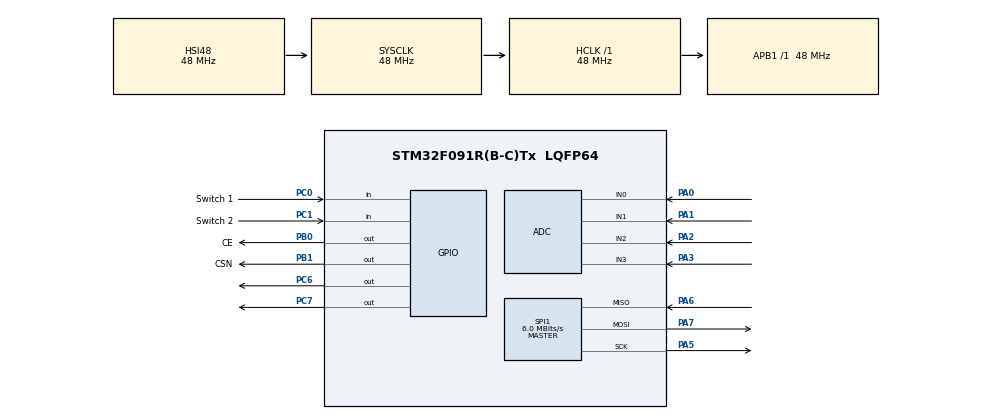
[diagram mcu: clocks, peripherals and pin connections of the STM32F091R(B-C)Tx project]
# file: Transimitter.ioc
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ADC.ContinuousConvMode=ENABLE
ADC.SamplingTime=ADC_SAMPLETIME_239CYCLES_5
Dma.ADC.0.Direction=DMA_PERIPH_TO_MEMORY
Dma.ADC.0.Instance=DMA1_Channel1
Dma.ADC.0.MemDataAlignment=DMA_MDATAALIGN_WORD
Dma.ADC.0.MemInc=DMA_MINC_ENABLE
Dma.ADC.0.Mode=DMA_CIRCULAR
Dma.ADC.0.PeriphDataAlignment=DMA_PDATAALIGN_WORD
Dma.ADC.0.PeriphInc=DMA_PINC_DISABLE
Dma.ADC.0.Priority=DMA_PRIORITY_LOW
Dma.Request0=ADC
Mcu.Family=STM32F0
Mcu.Name=STM32F091R(B-C)Tx
Mcu.Package=LQFP64
NVIC.DMA1_Ch1_IRQn=true\:0\:0\:false\:false\:true\:false\:true
PA0.Mode=IN0
PA0.Signal=ADC_IN0
PA1.Mode=IN1
PA1.Signal=ADC_IN1
PA2.Mode=IN2
PA2.Signal=ADC_IN2
PA3.Mode=IN3
PA3.Signal=ADC_IN3
PA5.Mode=Full_Duplex_Master
PA5.Signal=SPI1_SCK
PA6.Mode=Full_Duplex_Master
PA6.Signal=SPI1_MISO
PA7.Mode=Full_Duplex_Master
PA7.Signal=SPI1_MOSI
PB0.GPIO_Label=CE
PB0.Signal=GPIO_Output
PB1.GPIO_Label=CSN
PB1.Signal=GPIO_Output
PC0.GPIO_Label=Switch 1
PC0.GPIO_PuPd=GPIO_NOPULL
PC0.Signal=GPIO_Input
PC1.GPIO_Label=Switch 2
PC1.GPIO_PuPd=GPIO_NOPULL
PC1.Signal=GPIO_Input
PC6.Signal=GPIO_Output
PC7.Signal=GPIO_Output
ProjectManager.HeapSize=0x200
ProjectManager.StackSize=0x400
ProjectManager.TargetToolchain=STM32CubeIDE
RCC.AHBFreq_Value=48000000
RCC.APB1Freq_Value=48000000
RCC.APB1TimFreq_Value=48000000
RCC.HCLKFreq_Value=48000000
RCC.PLLMUL=RCC_PLL_MUL6
RCC.SYSCLKFreq_VALUE=48000000
RCC.SYSCLKSource=RCC_SYSCLKSOURCE_HSI48
SPI1.BaudRatePrescaler=SPI_BAUDRATEPRESCALER_8
SPI1.CalculateBaudRate=6.0 MBits/s
SPI1.DataSize=SPI_DATASIZE_8BIT
SPI1.Direction=SPI_DIRECTION_2LINES
SPI1.Mode=SPI_MODE_MASTER
SPI1.VirtualType=VM_MASTER
board=custom

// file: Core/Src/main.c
/* USER CODE BEGIN Header */
/**
  ******************************************************************************
  * @file           : main.c
  * @brief          : Main program body
  ******************************************************************************
  * @attention
  *
  * Copyright (c) 2022 STMicroelectronics.
  * All rights reserved.
  *
  * This software is licensed under terms that can be found in the LICENSE file
  * in the root directory of this software component.
  * If no LICENSE file comes with this software, it is provided AS-IS.
  *
  ******************************************************************************
  */
/* USER CODE END Header */
#include "main.h"

/* USER CODE BEGIN Includes */
#include "NRF24L01.h"
#include "string.h"
#include "package.h"
/* USER CODE END Includes */

ADC_HandleTypeDef hadc;
DMA_HandleTypeDef hdma_adc;

SPI_HandleTypeDef hspi1;

void SystemClock_Config(void);
static void MX_GPIO_Init(void);
static void MX_SPI1_Init(void);
static void MX_DMA_Init(void);
static void MX_ADC_Init(void);

/* USER CODE BEGIN 0 */
uint8_t TxAddress[] = {0x11,0x22,0x33,0x44,0x55};
uint32_t ADC_Value[4];
uint8_t TxData[] = "Hello World";
Package temp;
uint8_t switch1 = 0;
uint8_t switch2 = 0;
/* USER CODE END 0 */

int main(void)
{

  /* MCU Configuration--------------------------------------------------------*/

  /* Reset of all peripherals, Initializes the Flash interface and the Systick. */
  HAL_Init();

  /* Configure the system clock */
  SystemClock_Config();

  /* Initialize all configured peripherals */
  MX_GPIO_Init();
  MX_SPI1_Init();
  MX_DMA_Init();
  MX_ADC_Init();
  /* USER CODE BEGIN 2 */
  NRF24_Init();
  NRF24_TxMode(TxAddress, 10);
  /* USER CODE END 2 */

  /* Infinite loop */
  while (1)
  {

    /* USER CODE BEGIN 3 */
	  //read switch value

	  switch1 = HAL_GPIO_ReadPin(GPIOC,GPIO_PIN_0);
	  switch2 = HAL_GPIO_ReadPin(GPIOC,GPIO_PIN_1);

	  //read x1 y1 x2 y2 from joystick
	 HAL_ADC_Start_DMA(&hadc, ADC_Value, 4); // Start ADC in dma mode :)

	 temp.x1 = (uint16_t) ADC_Value[0];
	 temp.y1 = (uint16_t) ADC_Value[1];
	 temp.x2 = (uint16_t) ADC_Value[2];
	 temp.y2 = (uint16_t) ADC_Value[3];
	 temp.state1 = switch1;
	 temp.state2 = switch2;

  	  if (NRF24_Transmit(&temp) == 1)
  	  {
  		  HAL_GPIO_TogglePin(GPIOC, GPIO_PIN_6);
  		  HAL_Delay(10);
  	  }
  }
  /* USER CODE END 3 */
}

void SystemClock_Config(void)
{
  RCC_OscInitTypeDef RCC_OscInitStruct = {0};
  RCC_ClkInitTypeDef RCC_ClkInitStruct = {0};

  /** Initializes the RCC Oscillators according to the specified parameters
  * in the RCC_OscInitTypeDef structure.
  */
  RCC_OscInitStruct.OscillatorType = RCC_OSCILLATORTYPE_HSI14|RCC_OSCILLATORTYPE_HSI48;
  RCC_OscInitStruct.HSI48State = RCC_HSI48_ON;
  RCC_OscInitStruct.HSI14State = RCC_HSI14_ON;
  RCC_OscInitStruct.HSI14CalibrationValue = 16;
  RCC_OscInitStruct.PLL.PLLState = RCC_PLL_NONE;
  if (HAL_RCC_OscConfig(&RCC_OscInitStruct) != HAL_OK)
  {
    Error_Handler();
  }
  /** Initializes the CPU, AHB and APB buses clocks
  */
  RCC_ClkInitStruct.ClockType = RCC_CLOCKTYPE_HCLK|RCC_CLOCKTYPE_SYSCLK
                              |RCC_CLOCKTYPE_PCLK1;
  RCC_ClkInitStruct.SYSCLKSource = RCC_SYSCLKSOURCE_HSI48;
  RCC_ClkInitStruct.AHBCLKDivider = RCC_SYSCLK_DIV1;
  RCC_ClkInitStruct.APB1CLKDivider = RCC_HCLK_DIV1;

  if (HAL_RCC_ClockConfig(&RCC_ClkInitStruct, FLASH_LATENCY_1) != HAL_OK)
  {
    Error_Handler();
  }
}

static void MX_ADC_Init(void)
{

  ADC_ChannelConfTypeDef sConfig = {0};

  /** Configure the global features of the ADC (Clock, Resolution, Data Alignment and number of conversion)
  */
  hadc.Instance = ADC1;
  hadc.Init.ClockPrescaler = ADC_CLOCK_ASYNC_DIV1;
  hadc.Init.Resolution = ADC_RESOLUTION_12B;
  hadc.Init.DataAlign = ADC_DATAALIGN_RIGHT;
  hadc.Init.ScanConvMode = ADC_SCAN_DIRECTION_FORWARD;
  hadc.Init.EOCSelection = ADC_EOC_SINGLE_CONV;
  hadc.Init.LowPowerAutoWait = DISABLE;
  hadc.Init.LowPowerAutoPowerOff = DISABLE;
  hadc.Init.ContinuousConvMode = ENABLE;
  hadc.Init.DiscontinuousConvMode = DISABLE;
  hadc.Init.ExternalTrigConv = ADC_SOFTWARE_START;
  hadc.Init.ExternalTrigConvEdge = ADC_EXTERNALTRIGCONVEDGE_NONE;
  hadc.Init.DMAContinuousRequests = DISABLE;
  hadc.Init.Overrun = ADC_OVR_DATA_PRESERVED;
  if (HAL_ADC_Init(&hadc) != HAL_OK)
  {
    Error_Handler();
  }
  /** Configure for the selected ADC regular channel to be converted.
  */
  sConfig.Channel = ADC_CHANNEL_0;
  sConfig.Rank = ADC_RANK_CHANNEL_NUMBER;
  sConfig.SamplingTime = ADC_SAMPLETIME_239CYCLES_5;
  if (HAL_ADC_ConfigChannel(&hadc, &sConfig) != HAL_OK)
  {
    Error_Handler();
  }
  /** Configure for the selected ADC regular channel to be converted.
  */
  sConfig.Channel = ADC_CHANNEL_1;
  if (HAL_ADC_ConfigChannel(&hadc, &sConfig) != HAL_OK)
  {
    Error_Handler();
  }
  /** Configure for the selected ADC regular channel to be converted.
  */
  sConfig.Channel = ADC_CHANNEL_2;
  if (HAL_ADC_ConfigChannel(&hadc, &sConfig) != HAL_OK)
  {
    Error_Handler();
  }
  /** Configure for the selected ADC regular channel to be converted.
  */
  sConfig.Channel = ADC_CHANNEL_3;
  if (HAL_ADC_ConfigChannel(&hadc, &sConfig) != HAL_OK)
  {
    Error_Handler();
  }

}

static void MX_SPI1_Init(void)
{

  /* SPI1 parameter configuration*/
  hspi1.Instance = SPI1;
  hspi1.Init.Mode = SPI_MODE_MASTER;
  hspi1.Init.Direction = SPI_DIRECTION_2LINES;
  hspi1.Init.DataSize = SPI_DATASIZE_8BIT;
  hspi1.Init.CLKPolarity = SPI_POLARITY_LOW;
  hspi1.Init.CLKPhase = SPI_PHASE_1EDGE;
  hspi1.Init.NSS = SPI_NSS_SOFT;
  hspi1.Init.BaudRatePrescaler = SPI_BAUDRATEPRESCALER_8;
  hspi1.Init.FirstBit = SPI_FIRSTBIT_MSB;
  hspi1.Init.TIMode = SPI_TIMODE_DISABLE;
  hspi1.Init.CRCCalculation = SPI_CRCCALCULATION_DISABLE;
  hspi1.Init.CRCPolynomial = 7;
  hspi1.Init.CRCLength = SPI_CRC_LENGTH_DATASIZE;
  hspi1.Init.NSSPMode = SPI_NSS_PULSE_ENABLE;
  if (HAL_SPI_Init(&hspi1) != HAL_OK)
  {
    Error_Handler();
  }

}

static void MX_DMA_Init(void)
{

  /* DMA controller clock enable */
  __HAL_RCC_DMA1_CLK_ENABLE();

  /* DMA interrupt init */
  /* DMA1_Ch1_IRQn interrupt configuration */
  HAL_NVIC_SetPriority(DMA1_Ch1_IRQn, 0, 0);
  HAL_NVIC_EnableIRQ(DMA1_Ch1_IRQn);

}

static void MX_GPIO_Init(void)
{
  GPIO_InitTypeDef GPIO_InitStruct = {0};

  /* GPIO Ports Clock Enable */
  __HAL_RCC_GPIOC_CLK_ENABLE();
  __HAL_RCC_GPIOA_CLK_ENABLE();
  __HAL_RCC_GPIOB_CLK_ENABLE();

  /*Configure GPIO pin Output Level */
  HAL_GPIO_WritePin(GPIOB, CE_Pin|CSN_Pin, GPIO_PIN_RESET);

  /*Configure GPIO pin Output Level */
  HAL_GPIO_WritePin(GPIOC, GPIO_PIN_6|GPIO_PIN_7, GPIO_PIN_RESET);

  /*Configure GPIO pins : Switch_1_Pin Switch_2_Pin */
  GPIO_InitStruct.Pin = Switch_1_Pin|Switch_2_Pin;
  GPIO_InitStruct.Mode = GPIO_MODE_INPUT;
  GPIO_InitStruct.Pull = GPIO_NOPULL;
  HAL_GPIO_Init(GPIOC, &GPIO_InitStruct);

  /*Configure GPIO pins : CE_Pin CSN_Pin */
  GPIO_InitStruct.Pin = CE_Pin|CSN_Pin;
  GPIO_InitStruct.Mode = GPIO_MODE_OUTPUT_PP;
  GPIO_InitStruct.Pull = GPIO_NOPULL;
  GPIO_InitStruct.Speed = GPIO_SPEED_FREQ_LOW;
  HAL_GPIO_Init(GPIOB, &GPIO_InitStruct);

  /*Configure GPIO pins : PC6 PC7 */
  GPIO_InitStruct.Pin = GPIO_PIN_6|GPIO_PIN_7;
  GPIO_InitStruct.Mode = GPIO_MODE_OUTPUT_PP;
  GPIO_InitStruct.Pull = GPIO_NOPULL;
  GPIO_InitStruct.Speed = GPIO_SPEED_FREQ_LOW;
  HAL_GPIO_Init(GPIOC, &GPIO_InitStruct);

}

void Error_Handler(void)
{
  __disable_irq();
  while (1)
  {
  }
}
